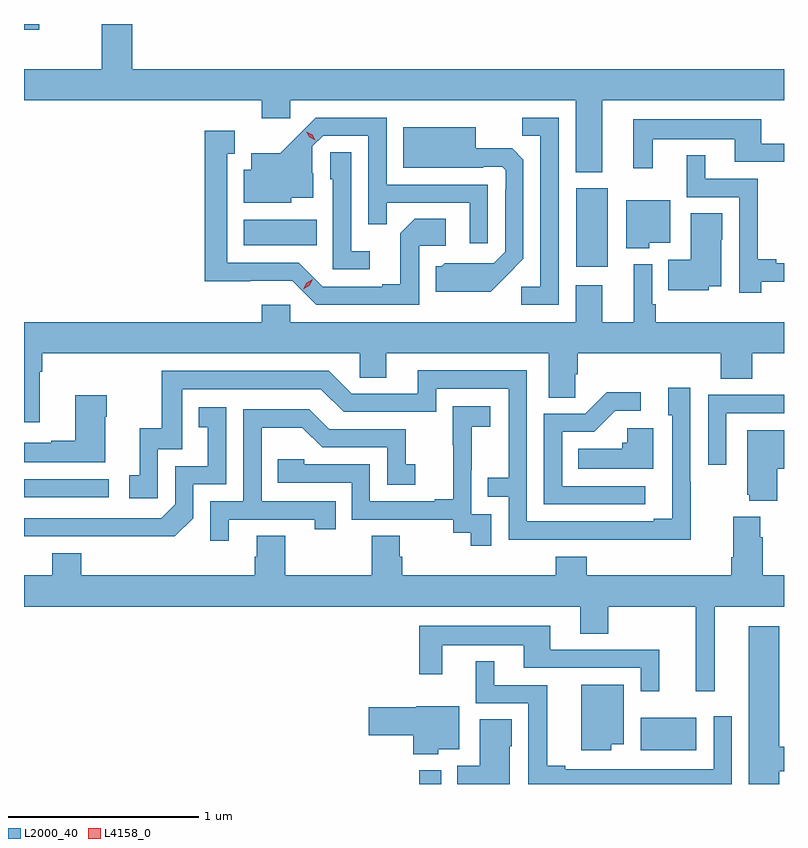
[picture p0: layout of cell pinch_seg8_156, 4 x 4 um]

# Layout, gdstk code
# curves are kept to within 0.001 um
import gdstk
lib = gdstk.Library(unit=1e-6, precision=1e-09)
def R(c, l, rs):  # rectangles x0, y0, x1, y1
    for r in rs: c.add(gdstk.rectangle(r[:2], r[2:], *l))
def P(c, l, *ps):  # polygons
    for p in ps: c.add(gdstk.Polygon(p, *l))
L2000_40 = (2000, 40)
L4158_0 = (4158, 0)

pinch_seg8_156 = lib.new_cell('pinch_seg8_156')
R(pinch_seg8_156, L2000_40, [(706.837,1139.542,706.953,1139.614), (708.002,1139.72,708.295,1139.89), (704.757,1141.05,705.202,1141.146), (707.663,1142.265,707.83,1142.677), (705.914,1142.378,706.298,1142.512), (704.757,1143.512,704.836,1143.542)])
P(pinch_seg8_156, L2000_40, [(707.8,1143.14),(708.757,1143.14),(708.757,1143.304),(705.326,1143.304),(705.326,1143.542),(705.166,1143.542),(705.166,1143.304),(704.757,1143.304),(704.757,1143.14),(706.007,1143.14),(706.007,1143.045),(706.158,1143.045),(706.158,1143.14),(707.66,1143.14),(707.66,1142.762),(707.8,1142.762)],
  [(707.199,1142.697),(706.665,1142.697),(706.665,1143.048),(706.292,1143.048),(706.105,1142.863),(705.953,1142.863),(705.953,1142.776),(705.914,1142.776),(705.914,1142.6),(706.164,1142.6),(706.164,1142.627),(706.279,1142.627),(706.279,1142.756),(706.275,1142.756),(706.275,1142.898),(706.332,1142.955),(706.569,1142.955),(706.569,1142.488),(706.667,1142.488),(706.667,1142.601),(707.103,1142.601),(707.103,1142.388),(707.199,1142.388)],
  [(707.571,1143.048),(707.38,1143.048),(707.38,1142.953),(707.475,1142.953),(707.475,1142.16),(707.373,1142.16),(707.373,1142.064),(707.571,1142.064)],
  [(708.067,1142.936),(708.497,1142.936),(708.497,1142.817),(708.757,1142.817),(708.757,1142.913),(708.637,1142.913),(708.637,1143.04),(707.963,1143.04),(707.963,1142.784),(708.067,1142.784)],
  [(707.293,1142.213),(707.385,1142.306),(707.385,1142.828),(707.326,1142.887),(707.134,1142.887),(707.134,1142.998),(706.754,1142.998),(706.754,1142.786),(707.174,1142.786),(707.174,1142.79),(707.274,1142.79),(707.292,1142.772),(707.292,1142.672),(707.289,1142.672),(707.289,1142.343),(707.229,1142.283),(706.972,1142.284),(706.956,1142.268),(706.925,1142.268),(706.925,1142.132),(707.213,1142.132)],
  [(706.836,1142.376),(706.978,1142.376),(706.978,1142.516),(706.813,1142.516),(706.737,1142.44),(706.737,1142.173),(706.643,1142.173),(706.643,1142.16),(706.329,1142.16),(706.203,1142.286),(705.826,1142.286),(705.826,1142.859),(705.865,1142.859),(705.865,1142.98),(705.708,1142.98),(705.708,1142.189),(706.17,1142.19),(706.296,1142.064),(706.836,1142.064)],
  [(706.576,1142.347),(706.479,1142.347),(706.479,1142.867),(706.368,1142.867),(706.368,1142.724),(706.383,1142.724),(706.383,1142.25),(706.576,1142.25)],
  [(708.638,1142.186),(708.757,1142.186),(708.757,1142.283),(708.715,1142.283),(708.715,1142.303),(708.62,1142.303),(708.62,1142.727),(708.343,1142.727),(708.343,1142.851),(708.245,1142.851),(708.245,1142.631),(708.522,1142.631),(708.522,1142.127),(708.638,1142.127)],
  [(708.048,1142.39),(708.157,1142.39),(708.157,1142.614),(707.927,1142.614),(707.927,1142.363),(708.048,1142.363)],
  [(708.36,1142.162),(708.427,1142.162),(708.427,1142.406),(708.433,1142.406),(708.433,1142.546),(708.266,1142.546),(708.266,1142.302),(708.148,1142.302),(708.148,1142.141),(708.36,1142.141)],
  [(704.839,1141.712),(704.852,1141.712),(704.852,1141.808),(706.524,1141.808),(706.524,1141.681),(706.663,1141.681),(706.663,1141.808),(707.519,1141.808),(707.519,1141.576),(707.658,1141.576),(707.658,1141.699),(707.672,1141.699),(707.672,1141.808),(708.425,1141.808),(708.425,1141.675),(708.59,1141.675),(708.59,1141.808),(708.757,1141.808),(708.757,1141.972),(708.083,1141.972),(708.083,1142.068),(708.063,1142.068),(708.063,1142.278),(707.966,1142.278),(707.966,1141.972),(707.8,1141.972),(707.8,1142.167),(707.66,1142.167),(707.66,1141.972),(706.158,1141.972),(706.158,1142.065),(706.007,1142.065),(706.007,1141.972),(704.757,1141.972),(704.757,1141.446),(704.839,1141.446)],
  [(708.267,1141.133),(708.264,1141.133),(708.264,1141.627),(708.149,1141.627),(708.149,1141.482),(708.168,1141.482),(708.168,1140.937),(708.071,1140.937),(708.071,1140.924),(707.403,1140.924),(707.403,1141.719),(706.829,1141.719),(706.829,1141.596),(706.482,1141.596),(706.362,1141.716),(705.483,1141.716),(705.483,1141.414),(705.365,1141.414),(705.365,1141.167),(705.312,1141.167),(705.312,1141.047),(705.462,1141.047),(705.462,1141.305),(705.591,1141.305),(705.591,1141.62),(706.32,1141.62),(706.44,1141.5),(706.926,1141.5),(706.926,1141.623),(707.307,1141.623),(707.307,1141.154),(707.197,1141.154),(707.197,1141.053),(707.307,1141.053),(707.307,1140.828),(708.267,1140.827)],
  [(708.028,1141.11),(707.589,1141.11),(707.589,1141.395),(707.758,1141.395),(707.869,1141.506),(708.004,1141.506),(708.004,1141.604),(707.825,1141.604),(707.712,1141.491),(707.493,1141.491),(707.493,1141.014),(708.028,1141.014)],
  [(708.453,1141.494),(708.757,1141.494),(708.757,1141.592),(708.673,1141.592),(708.673,1141.59),(708.357,1141.59),(708.357,1141.221),(708.453,1141.221)],
  [(705.184,1141.475),(705.192,1141.475),(705.192,1141.588),(705.026,1141.588),(705.026,1141.349),(704.9,1141.349),(704.9,1141.339),(704.757,1141.339),(704.757,1141.235),(705.184,1141.235)],
  [(707.217,1140.963),(707.112,1140.963),(707.112,1141.193),(707.114,1141.193),(707.114,1141.421),(707.212,1141.421),(707.212,1141.531),(707.014,1141.531),(707.014,1141.325),(707.015,1141.325),(707.015,1141.042),(706.919,1141.042),(706.919,1141.029),(706.578,1141.029),(706.578,1141.224),(706.233,1141.224),(706.233,1141.251),(706.093,1141.251),(706.093,1141.128),(706.482,1141.128),(706.482,1140.933),(707.016,1140.933),(707.016,1140.865),(707.109,1140.865),(707.109,1140.795),(707.217,1140.795)],
  [(705.648,1140.942),(705.648,1141.119),(705.822,1141.119),(705.822,1141.525),(705.676,1141.525),(705.676,1141.419),(705.725,1141.419),(705.725,1141.215),(705.552,1141.215),(705.552,1141.014),(705.48,1140.942),(704.757,1140.942),(704.757,1140.846),(705.55,1140.845)],
  [(705.835,1140.933),(706.286,1140.933),(706.286,1140.882),(706.397,1140.882),(706.397,1141.029),(706.008,1141.029),(706.008,1141.418),(706.222,1141.418),(706.326,1141.314),(706.668,1141.314),(706.668,1141.116),(706.816,1141.116),(706.816,1141.225),(706.767,1141.225),(706.767,1141.41),(706.363,1141.41),(706.258,1141.515),(705.912,1141.515),(705.912,1141.029),(705.738,1141.029),(705.738,1140.822),(705.835,1140.822)],
  [(708.07,1141.414),(707.931,1141.414),(707.931,1141.338),(707.905,1141.338),(707.905,1141.306),(707.674,1141.306),(707.674,1141.202),(708.07,1141.202)],
  [(708.721,1141.202),(708.757,1141.202),(708.757,1141.405),(708.563,1141.405),(708.563,1141.065),(708.575,1141.065),(708.575,1141.034),(708.721,1141.034)],
  [(708.392,1140.476),(708.757,1140.476),(708.757,1140.64),(708.644,1140.64),(708.644,1140.842),(708.631,1140.842),(708.631,1140.949),(708.491,1140.949),(708.491,1140.736),(708.479,1140.736),(708.479,1140.64),(707.72,1140.64),(707.72,1140.739),(707.555,1140.739),(707.555,1140.64),(706.748,1140.64),(706.748,1140.738),(706.735,1140.738),(706.735,1140.848),(706.588,1140.848),(706.588,1140.64),(706.131,1140.64),(706.131,1140.848),(705.983,1140.848),(705.983,1140.738),(705.971,1140.738),(705.971,1140.64),(705.059,1140.64),(705.059,1140.757),(704.906,1140.757),(704.906,1140.64),(704.757,1140.64),(704.757,1140.476),(707.684,1140.476),(707.684,1140.334),(707.832,1140.334),(707.832,1140.476),(708.293,1140.476),(708.293,1140.03),(708.392,1140.03)],
  [(708.101,1140.249),(707.527,1140.249),(707.527,1140.376),(706.836,1140.376),(706.836,1140.12),(706.957,1140.12),(706.957,1140.272),(707.387,1140.272),(707.387,1140.153),(708.003,1140.153),(708.003,1140.03),(708.101,1140.03)],
  [(708.731,1139.61),(708.757,1139.61),(708.757,1139.738),(708.731,1139.738),(708.731,1140.373),(708.572,1140.373),(708.572,1139.542),(708.731,1139.542)],
  [(708.483,1139.899),(708.387,1139.899),(708.387,1139.619),(707.605,1139.619),(707.605,1139.639),(707.51,1139.639),(707.51,1140.063),(707.233,1140.063),(707.233,1140.187),(707.135,1140.187),(707.135,1139.967),(707.412,1139.967),(707.412,1139.542),(708.483,1139.542)],
  [(707.848,1139.75),(707.914,1139.75),(707.914,1140.064),(707.69,1140.064),(707.69,1139.72),(707.848,1139.72)],
  [(706.938,1139.726),(707.047,1139.726),(707.047,1139.95),(706.821,1139.95),(706.821,1139.945),(706.572,1139.945),(706.572,1139.798),(706.805,1139.798),(706.805,1139.699),(706.938,1139.699)],
  [(707.314,1139.742),(707.323,1139.742),(707.323,1139.882),(707.156,1139.882),(707.156,1139.638),(707.038,1139.638),(707.038,1139.542),(707.314,1139.542)])
P(pinch_seg8_156, L4158_0, [(706.291,1142.93),(706.26,1142.945),(706.242,1142.974),(706.242,1142.975),(706.242,1142.975),(706.273,1142.96),(706.291,1142.93),(706.291,1142.93)],
  [(706.228,1142.146),(706.228,1142.147),(706.245,1142.18),(706.276,1142.199),(706.277,1142.199),(706.277,1142.199),(706.26,1142.166),(706.228,1142.146)])

lib.write_gds('pinch_seg8_156.gds')
